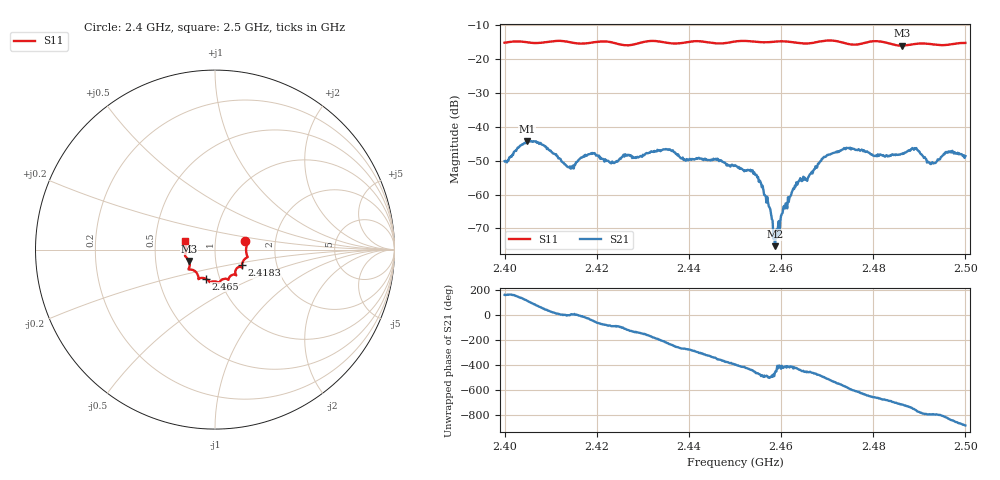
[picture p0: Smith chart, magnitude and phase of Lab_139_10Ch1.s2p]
# Hz S RI R 50
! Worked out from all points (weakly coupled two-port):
!   601 points, 2.4 GHz to 2.5 GHz, reference 50 ohm
!   highest |S21| = -44.14 dB at 2.4048 GHz (marker M1); lowest = -75.3 dB at 2.4587 GHz (marker M2)
!   lowest |S11| = -16.0 dB at 2.4862 GHz (marker M3), VSWR 1.38, Z = 37.1 - j4.83 ohm
!   |S11| at or under -10 dB: start of sweep to end of sweep
!   S12 and S22 are empty: the file has one direction only
!   S11 on the Smith chart (normalised r, x): 2.4 GHz: 1.40, +0.13; 2.4183 GHz: 1.33, -0.24; 2.465 GHz: 0.86, -0.29; 2.5 GHz: 0.71, +0.07
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2.4e9  0.169 0.0459  -0.00288 0.00115  0 0  0 0
2.404833e9  0.1764 0.0205  -0.00233 0.00576  0 0  0 0
2.408167e9  0.1746 -0.0179  0.00333 0.0043  0 0  0 0
2.414167e9  0.1715 -0.0479  0.00258 -0.000219  0 0  0 0
2.416667e9  0.155 -0.0683  0.00345 -0.00085  0 0  0 0
2.418333e9  0.15 -0.0869  0.00328 -0.00217  0 0  0 0
2.4235e9  0.1462 -0.0973  -9.73e-05 -0.00298  0 0  0 0
2.433333e9  0.1166 -0.1411  -0.00429 0.00117  0 0  0 0
2.45e9  0.0255 -0.1806  0.00208 -0.00176  0 0  0 0
2.455167e9  0.00616 -0.1786  -0.000608 -0.00142  0 0  0 0
2.4575e9  -0.0141 -0.1779  -0.000526 -0.000377  0 0  0 0
2.458667e9  -0.0223 -0.1799  -3.32e-05 -0.000169  0 0  0 0
2.462833e9  -0.0356 -0.1733  0.000612 -0.00104  0 0  0 0
2.465e9  -0.0526 -0.162  -0.000146 -0.00166  0 0  0 0
2.466667e9  -0.0713 -0.1576  -0.000508 -0.00211  0 0  0 0
2.474167e9  -0.0963 -0.1401  -0.0039 0.00299  0 0  0 0
2.483333e9  -0.1421 -0.0961  0.00313 0.00202  0 0  0 0
2.486167e9  -0.1447 -0.0635  0.00399 0.000227  0 0  0 0
2.489e9  -0.1627 -0.0404  0.00388 -0.00291  0 0  0 0
2.492833e9  -0.1643 -0.0209  0.000688 -0.00293  0 0  0 0
2.496167e9  -0.1621 0.0184  -0.00121 -0.00397  0 0  0 0
2.5e9  -0.167 0.0474  -0.00355 -0.00103  0 0  0 0
